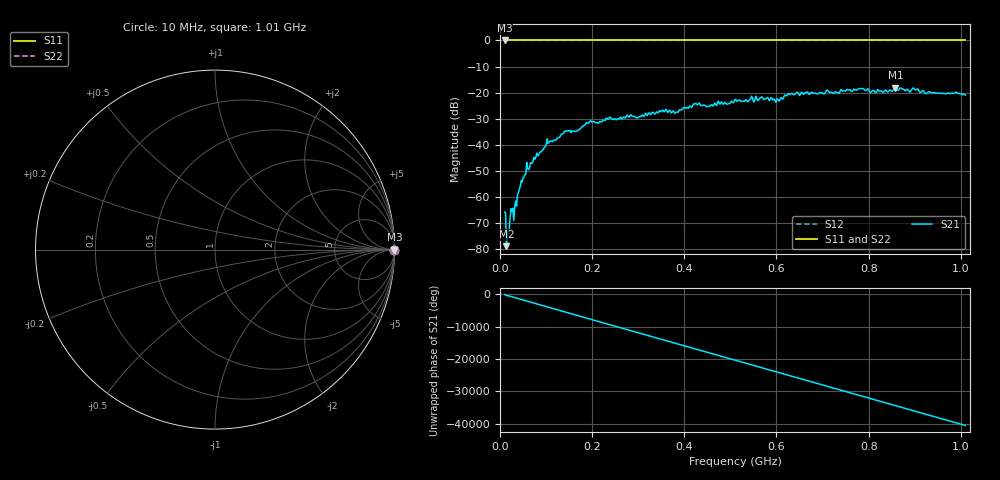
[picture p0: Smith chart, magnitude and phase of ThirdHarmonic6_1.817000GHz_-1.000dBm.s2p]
! 8/16/2025 10:01:18 PM
! C:\ANRITSUVNA\TEMP\TEMP.S2P
! CHANNEL.1
! TR.MEASUREMENT
! RAW.DATA
! RF.CORRECTION.OFF
! AVERAGING.OFF
! IF.BANDWIDTH: 5KHZ
! SWEEPTYPE:  FREQ.SWEEP(Linear)
! Reference Plane Port Info
! PORT:  PORT1  PORT2
! DISTANCE:  0  m  0  m
! TIME:  0  s  0  s
! PHASE.OFFSET:  0  deg.  0  deg.
! LOSS:  0  dB  0  dB
! REF.LOSS:  0  dB  0  dB
! REF.FREQ:  0  Hz  0  Hz
! Power Info
! POWER:  -20  dBm  -20  dBm
! EFF.POWER:  -20  dBm  -20  dBm
! SOURCE.ATTEN:  0  dB  0  dB
! TEST.ATTEN:  0  dB  0  dB
# GHZ S RI R 50.0
! FREQ.GHZ  S11RE  S11IM  S21RE  S21IM  S12RE  S12IM  S22RE  S22IM
!; PortSelection: Port_12
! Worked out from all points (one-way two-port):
!   501 points, 10 MHz to 1.01 GHz, reference 50 ohm
!   highest |S21| = -18.07 dB at 858 MHz (marker M1); lowest = -78.9 dB at 14 MHz (marker M2)
!   lowest |S11| = 0.0 dB at 10 MHz (marker M3)
!   |S11| at or under -10 dB: nowhere
!   |S22| runs from 0.0 to 0.0 dB; largest |S21 - S12| = 1.1
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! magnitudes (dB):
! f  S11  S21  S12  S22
! 10 MHz  0.0  -65.9  0.0  0.0
! 14 MHz  0.0  -78.9  0.0  0.0
! 18 MHz  0.0  -72.8  0.0  0.0
! 24 MHz  0.0  -64.5  0.0  0.0
! 34 MHz  0.0  -61.6  0.0  0.0
! 42 MHz  0.0  -57.2  0.0  0.0
! 54 MHz  0.0  -51.6  0.0  0.0
! 76 MHz  0.0  -45.6  0.0  0.0
! 106 MHz  0.0  -39.3  0.0  0.0
! 178 MHz  0.0  -33.2  0.0  0.0
! 198 MHz  0.0  -31.1  0.0  0.0
! 344 MHz  0.0  -27.7  0.0  0.0
! 382 MHz  0.0  -27.5  0.0  0.0
! 424 MHz  0.0  -24.2  0.0  0.0
! 452 MHz  0.0  -25.1  0.0  0.0
! 510 MHz  0.0  -22.6  0.0  0.0
! 602 MHz  0.0  -22.4  0.0  0.0
! 628 MHz  0.0  -20.6  0.0  0.0
! 678 MHz  0.0  -20.1  0.0  0.0
! 844 MHz  0.0  -19.4  0.0  0.0
! 858 MHz  0.0  -18.1  0.0  0.0
! 1.01 GHz  0.0  -21.0  0.0  0.0
